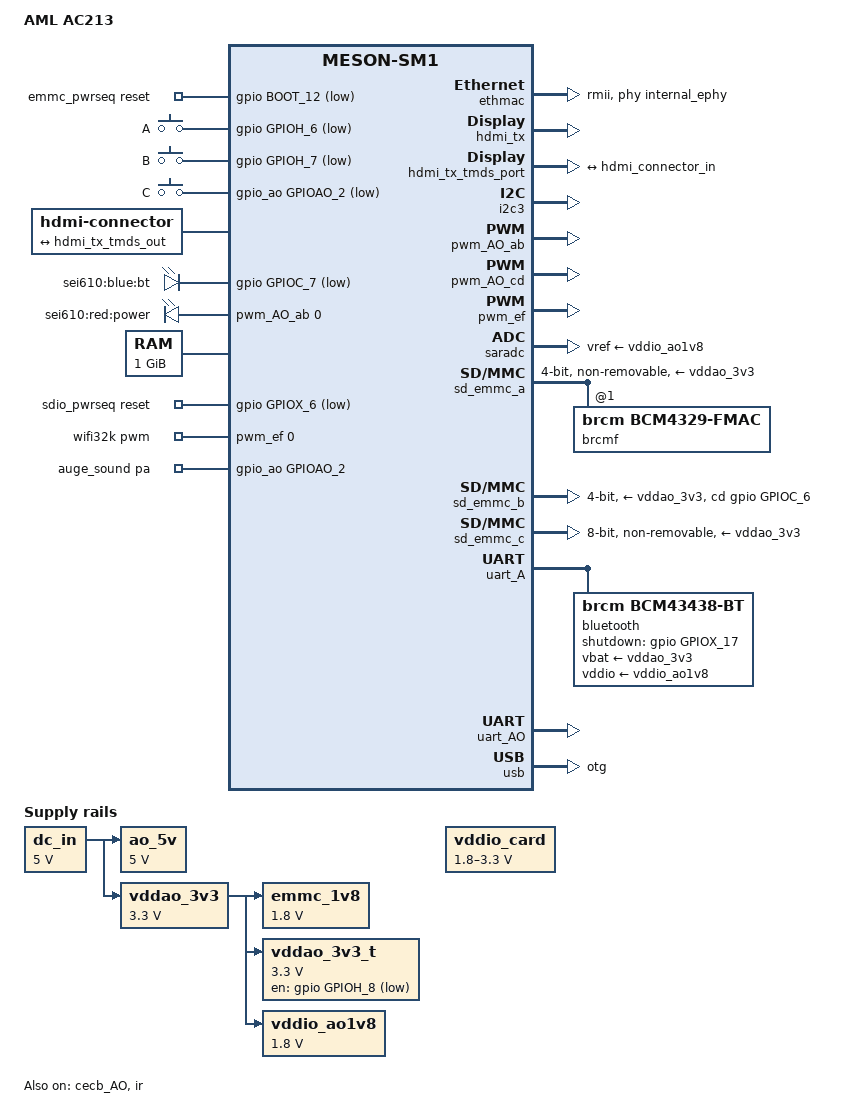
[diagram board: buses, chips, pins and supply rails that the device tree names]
// SPDX-License-Identifier: (GPL-2.0+ OR MIT)
/*
 * Copyright (c) 2019 BayLibre SAS. All rights reserved.
 */

/dts-v1/;

#include "meson-sm1.dtsi"
#include "partition_mbox_normal.dtsi"
#include <dt-bindings/gpio/gpio.h>
#include <dt-bindings/input/input.h>
#include <dt-bindings/gpio/meson-g12a-gpio.h>

/ {
	compatible = "amlogic,sm1";
	model = "AML AC213";

	aliases {
		serial0 = &uart_AO;
		ethernet0 = &ethmac;
	};

	chosen {
		stdout-path = "serial0:115200n8";
	};

	emmc_pwrseq: emmc-pwrseq {
		compatible = "mmc-pwrseq-emmc";
		reset-gpios = <&gpio BOOT_12 GPIO_ACTIVE_LOW>;
	};

	gpio-keys {
		compatible = "gpio-keys-polled";
		poll-interval = <100>;

		key1 {
			label = "A";
			linux,code = <BTN_0>;
			gpios = <&gpio GPIOH_6 GPIO_ACTIVE_LOW>;
		};

		key2 {
			label = "B";
			linux,code = <BTN_1>;
			gpios = <&gpio GPIOH_7 GPIO_ACTIVE_LOW>;
		};

		key3 {
			label = "C";
			linux,code = <BTN_2>;
			gpios = <&gpio_ao GPIOAO_2 GPIO_ACTIVE_LOW>;
		};
	};

	hdmi-connector {
		compatible = "hdmi-connector";
		type = "a";

		port {
			hdmi_connector_in: endpoint {
				remote-endpoint = <&hdmi_tx_tmds_out>;
			};
		};
	};

	leds {
		compatible = "gpio-leds";

		bluetooth {
			label = "sei610:blue:bt";
			gpios = <&gpio GPIOC_7 (GPIO_ACTIVE_LOW | GPIO_OPEN_DRAIN)>;
			default-state = "off";
		};
	};

	pwmleds {
		compatible = "pwm-leds";

		power {
			label = "sei610:red:power";
			pwms = <&pwm_AO_ab 0 30518 0>;
			max-brightness = <255>;
			linux,default-trigger = "default-on";
			active-low;
		};
	};

	memory@0 {
		device_type = "memory";
		reg = <0x0 0x0 0x0 0x40000000>;
	};

	ao_5v: regulator-ao_5v {
		compatible = "regulator-fixed";
		regulator-name = "AO_5V";
		regulator-min-microvolt = <5000000>;
		regulator-max-microvolt = <5000000>;
		vin-supply = <&dc_in>;
		regulator-always-on;
	};

	dc_in: regulator-dc_in {
		compatible = "regulator-fixed";
		regulator-name = "DC_IN";
		regulator-min-microvolt = <5000000>;
		regulator-max-microvolt = <5000000>;
		regulator-always-on;
	};

	emmc_1v8: regulator-emmc_1v8 {
		compatible = "regulator-fixed";
		regulator-name = "EMMC_1V8";
		regulator-min-microvolt = <1800000>;
		regulator-max-microvolt = <1800000>;
		vin-supply = <&vddao_3v3>;
		regulator-always-on;
	};

	vddao_3v3: regulator-vddao_3v3 {
		compatible = "regulator-fixed";
		regulator-name = "VDDAO_3V3";
		regulator-min-microvolt = <3300000>;
		regulator-max-microvolt = <3300000>;
		vin-supply = <&dc_in>;
		regulator-always-on;
	};

	/* Used by Tuner, RGB Led & IR Emitter LED array */
	vddao_3v3_t: regulator-vddao_3v3_t {
		compatible = "regulator-fixed";
		regulator-name = "VDDAO_3V3_T";
		regulator-min-microvolt = <3300000>;
		regulator-max-microvolt = <3300000>;
		vin-supply = <&vddao_3v3>;
		gpio = <&gpio GPIOH_8 GPIO_OPEN_DRAIN>;
		enable-active-low;
		regulator-always-on;
	};

	vddio_card: gpio-regulator {
		compatible = "regulator-gpio";

		regulator-name = "VDDIO_CARD";
		regulator-min-microvolt = <1800000>;
		regulator-max-microvolt = <3300000>;

		gpios = <&gpio GPIOAO_2 GPIO_ACTIVE_HIGH>;
		gpios-states = <1>;

		/* Based on P200 schematics, signal CARD_1.8V/3.3V_CTR */
		states = <1800000 1
			3300000 0>;
	};

	vddio_ao1v8: regulator-vddio_ao1v8 {
		compatible = "regulator-fixed";
		regulator-name = "VDDIO_AO1V8";
		regulator-min-microvolt = <1800000>;
		regulator-max-microvolt = <1800000>;
		vin-supply = <&vddao_3v3>;
		regulator-always-on;
	};

	reserved-memory {
		/* TEE Reserved Memory */
		bl32_reserved: bl32@5000000 {
			reg = <0x0 0x05300000 0x0 0x2000000>;
			no-map;
		};
		ion_cma_reserved:linux,ion-dev {
			compatible = "shared-dma-pool";
			reusable;
			size = <0x0 0x8000000>;
			alignment = <0x0 0x400000>;
		};
	};

	amlvecm {
		compatible = "amlogic, vecm";
		dev_name = "aml_vecm";
		status = "okay";
		gamma_en = <0>;/*1:enabel ;0:disable*/
		wb_en = <0>;/*1:enabel ;0:disable*/
		cm_en = <0>;/*1:enabel ;0:disable*/
	};

	amlvecm {
		compatible = "amlogic, vecm";
		dev_name = "aml_vecm";
		status = "okay";
		gamma_en = <0>;/*1:enabel ;0:disable*/
		wb_en = <0>;/*1:enabel ;0:disable*/
		cm_en = <0>;/*1:enabel ;0:disable*/
	};

	sdio_pwrseq: sdio-pwrseq {
		compatible = "mmc-pwrseq-simple";
		reset-gpios = <&gpio GPIOX_6 GPIO_ACTIVE_LOW>;
		clocks = <&wifi32k>;
		clock-names = "ext_clock";
	};

	wifi32k: wifi32k {
		compatible = "pwm-clock";
		#clock-cells = <0>;
		clock-frequency = <32768>;
		pwms = <&pwm_ef 0 30518 0>; /* PWM_E at 32.768KHz */
	};

	amdolby_vision {
		compatible = "amlogic, dolby_vision_sm1";
		dev_name = "aml_amdolby_vision_driver";
		status = "okay";
		tv_mode = <0>;/*1:enabel ;0:disable*/
	};

	auge_sound {
		compatible = "amlogic, sound-card";
		aml-audio-card,name = "AML-AUGESOUND";

		/* Power Amplifier Enable gpio */
		pa-gpios = <&gpio_ao GPIOAO_2 GPIO_ACTIVE_HIGH>;

		aml-audio-card,dai-link@0 {
			format = "dsp_a";
			mclk-fs = <512>;
			//continuous-clock;
			//bitclock-inversion;
			//frame-inversion;
			/* master mode */
			bitclock-master = <&tdma>;
			frame-master = <&tdma>;
			/* slave mode */
			/*
			 * bitclock-master = <&tdmacodec>;
			 * frame-master = <&tdmacodec>;
			 */
			suffix-name = "alsaPORT-pcm";
			tdmacpu: cpu {
				sound-dai = <&tdma>;
				dai-tdm-slot-tx-mask =
							<1 1 1 1 1 1 1 1>;
				dai-tdm-slot-rx-mask =
							<1 1 1 1 1 1 1 1>;
				dai-tdm-slot-num = <8>;
				dai-tdm-slot-width = <32>;
				system-clock-frequency = <24576000>;
			};
			tdmacodec: codec {
				sound-dai = <&dummy_codec &dummy_codec>;
			};
		};

		aml-audio-card,dai-link@1 {
			format = "i2s";// "dsp_a";
			mclk-fs = <256>;
			//continuous-clock;
			//bitclock-inversion;
			//frame-inversion;
			/* master mode */
			bitclock-master = <&tdmb>;
			frame-master = <&tdmb>;
			/* slave mode */
			//bitclock-master = <&tdmbcodec>;
			//frame-master = <&tdmbcodec>;
			/* suffix-name, sync with android audio hal
			 * what's the dai link used for
			 */
			suffix-name = "alsaPORT-i2s";
			cpu {
				sound-dai = <&tdmb>;
				dai-tdm-slot-tx-mask = <1 1>;
				dai-tdm-slot-rx-mask = <1 1>;
				dai-tdm-slot-num = <2>;
				/*
				 * dai-tdm-slot-tx-mask =
				 *	<1 1 1 1 1 1 1 1>;
				 * dai-tdm-slot-rx-mask =
				 *	<1 1 1 1 1 1 1 1>;
				 * dai-tdm-slot-num = <8>;
				 */
				dai-tdm-slot-width = <32>;
				system-clock-frequency = <12288000>;
			};
			tdmbcodec: codec {
				sound-dai = <&amlogic_codec>;
			};
		};

		aml-audio-card,dai-link@2 {
			format = "i2s";
			mclk-fs = <256>;
			//continuous-clock;
			//bitclock-inversion;
			//frame-inversion;
			/* master mode */
			bitclock-master = <&tdmc>;
			frame-master = <&tdmc>;
			/* slave mode */
			//bitclock-master = <&tdmccodec>;
			//frame-master = <&tdmccodec>;
			/* suffix-name, sync with android audio hal used for */
			//suffix-name = "alsaPORT-tdm";
			cpu {
				sound-dai = <&tdmc>;
				dai-tdm-slot-tx-mask = <1 1>;
				dai-tdm-slot-rx-mask = <1 1>;
				dai-tdm-slot-num = <2>;
				dai-tdm-slot-width = <32>;
				system-clock-frequency = <12288000>;
			};
			tdmccodec: codec {
				sound-dai = <&dummy_codec>;
			};
		};

		aml-audio-card,dai-link@3 {
			mclk-fs = <64>;
			/* suffix-name, sync with android audio hal
			 * what's the dai link used for
			 */
			suffix-name = "alsaPORT-pdm";
			cpu {
				sound-dai = <&apdm>;
			};
			codec {
				sound-dai = <&dummy_codec>;
			};
		};

		aml-audio-card,dai-link@4 {
			mclk-fs = <128>;
			/* suffix-name, sync with android audio hal used for */
			suffix-name = "alsaPORT-spdif";
			cpu {
				sound-dai = <&spdifa>;
				system-clock-frequency = <6144000>;
			};
			codec {
				sound-dai = <&dummy_codec>;
			};
		};
		/* spdif_b to hdmi, only playback */
		aml-audio-card,dai-link@5 {
			mclk-fs = <128>;
			continuous-clock;
			/* suffix-name, sync with android audio hal
			 * what's the dai link used for
			 */
			suffix-name = "alsaPORT-spdifb";
			cpu {
				sound-dai = <&spdifb>;
				system-clock-frequency = <6144000>;
			};
			codec {
				sound-dai = <&dummy_codec>;
			};
		};
		aml-audio-card,dai-link@6 {
			mclk-fs = <256>;
			continuous-clock;
			suffix-name = "alsaPORT-loopback";
			cpu {
				sound-dai = <&loopbacka>;
				system-clock-frequency = <12288000>;
			};
			codec {
				sound-dai = <&dummy_codec>;
			};
		};
	};

	picdec {
		compatible = "amlogic, picdec";
		status = "okay";
	};

	cvbsout {
		compatible = "amlogic, cvbsout-sm1";
		status = "okay";
		clocks = <&clkc CLKID_VCLK2_ENCI
			&clkc CLKID_VCLK2_VENCI0
			&clkc CLKID_VCLK2_VENCI1
			&clkc CLKID_DAC_CLK>;
		clock-names = "venci_top_gate",
			"venci_0_gate",
			"venci_1_gate",
			"vdac_clk_gate";
		/* clk path */
		/* 0:vid_pll vid2_clk */
		/* 1:gp0_pll vid2_clk */
		/* 2:vid_pll vid1_clk */
		/* 3:gp0_pll vid1_clk */
		clk_path = <0>;

		/* performance: reg_address, reg_value */
		/* tm2 */
		performance = <0x1bf0  0x9
			0x1b56  0x333
			0x1b12  0x8080
			0x1b05  0xfd
			0x1c59  0xf850
			0xffff  0x0>; /* ending flag */
		performance_sarft = <0x1bf0  0x9
			0x1b56  0x333
			0x1b12  0x0
			0x1b05  0x9
			0x1c59  0xfc48
			0xffff  0x0>; /* ending flag */
		performance_revB_telecom = <0x1bf0  0x9
			0x1b56  0x546
			0x1b12  0x8080
			0x1b05  0x9
			0x1c59  0xf850
			0xffff  0x0>; /* ending flag */
	};

	cpu_opp_table: opp-table {
		compatible = "operating-points-v2";
		opp-shared;

		opp-100000000 {
			opp-hz = /bits/ 64 <100000000>;
			opp-microvolt = <760000>;
		};

		opp-250000000 {
			opp-hz = /bits/ 64 <250000000>;
			opp-microvolt = <760000>;
		};

		opp-500000000 {
			opp-hz = /bits/ 64 <500000000>;
			opp-microvolt = <760000>;
		};

		opp-667000000 {
			opp-hz = /bits/ 64 <666666666>;
			opp-microvolt = <780000>;
		};

		opp-1000000000 {
			opp-hz = /bits/ 64 <1000000000>;
			opp-microvolt = <800000>;
		};

		opp-1200000000 {
			opp-hz = /bits/ 64 <1200000000>;
			opp-microvolt = <810000>;
		};

		opp-1404000000 {
			opp-hz = /bits/ 64 <1404000000>;
			opp-microvolt = <820000>;
		};

		opp-1512000000 {
			opp-hz = /bits/ 64 <1500000000>;
			opp-microvolt = <830000>;
		};

		opp-1608000000 {
			opp-hz = /bits/ 64 <1608000000>;
			opp-microvolt = <860000>;
		};

		opp-1704000000 {
			opp-hz = /bits/ 64 <1704000000>;
			opp-microvolt = <900000>;
		};

		opp-1800000000 {
			opp-hz = /bits/ 64 <1800000000>;
			opp-microvolt = <940000>;
		};

		opp-1908000000 {
			opp-hz = /bits/ 64 <1908000000>;
			opp-microvolt = <970000>;
		};
	};

	cpufreq-meson {
		compatible = "amlogic, cpufreq-meson";
		status = "okay";
	};
};

&cec_AO {
	pinctrl-0 = <&cec_ao_a_h_pins>;
	pinctrl-names = "default";
	status = "disabled";
	hdmi-phandle = <&hdmi_tx>;
};

&cecb_AO {
	pinctrl-0 = <&cec_ao_b_h_pins>;
	pinctrl-names = "default";
	status = "okay";
	hdmi-phandle = <&hdmi_tx>;
};

&cpu0 {
	cpu-supply = <&vddcpu>;
	operating-points-v2 = <&cpu_opp_table>;
	clocks = <&clkc CLKID_CPU_CLK>,
	       <&clkc CLKID_CPU_CLK_DYN>,
	       <&clkc CLKID_SYS_PLL>;
	clock-names = "core_clk",
		"low_freq_clk_parent",
		"high_freq_clk_parent";
	clock-latency = <50000>;
};

&cpu1 {
	cpu-supply = <&vddcpu>;
	operating-points-v2 = <&cpu_opp_table>;
	clocks = <&clkc CLKID_CPU_CLK>,
	       <&clkc CLKID_CPU_CLK_DYN>,
	       <&clkc CLKID_SYS_PLL>;
	clock-names = "core_clk",
		"low_freq_clk_parent",
		"high_freq_clk_parent";
	clock-latency = <50000>;
};

&cpu2 {
	cpu-supply = <&vddcpu>;
	operating-points-v2 = <&cpu_opp_table>;
	clocks = <&clkc CLKID_CPU_CLK>,
	       <&clkc CLKID_CPU_CLK_DYN>,
	       <&clkc CLKID_SYS_PLL>;
	clock-names = "core_clk",
		"low_freq_clk_parent",
		"high_freq_clk_parent";
	clock-latency = <50000>;
};

&cpu3 {
	cpu-supply = <&vddcpu>;
	operating-points-v2 = <&cpu_opp_table>;
	clocks = <&clkc CLKID_CPU_CLK>,
	       <&clkc CLKID_CPU_CLK_DYN>,
	       <&clkc CLKID_SYS_PLL>;
	clock-names = "core_clk",
		"low_freq_clk_parent",
		"high_freq_clk_parent";
	clock-latency = <50000>;
};

&ethmac {
	status = "okay";
	phy-handle = <&internal_ephy>;
	phy-mode = "rmii";
};

&hdmi_tx {
	status = "okay";
	pinctrl-0 = <&hdmitx_hpd_pins>, <&hdmitx_ddc_pins>;
	pinctrl-names = "default";
};

&hdmi_tx_tmds_port {
	hdmi_tx_tmds_out: endpoint {
		remote-endpoint = <&hdmi_connector_in>;
	};
};

&i2c3 {
	status = "okay";
	pinctrl-0 = <&i2c3_sda_a_pins>, <&i2c3_sck_a_pins>;
	pinctrl-names = "default";
};

&ir {
	status = "okay";
	pinctrl-0 = <&remote_input_ao_pins>;
	pinctrl-names = "default";
};

&pwm_AO_ab {
	status = "okay";
	pinctrl-0 = <&pwm_ao_a_pins>;
	pinctrl-names = "default";
	clocks = <&xtal>;
	clock-names = "clkin0";
};

&pwm_AO_cd {
	pinctrl-0 = <&pwm_ao_d_e_pins>;
	pinctrl-names = "default";
	clocks = <&xtal>;
	clock-names = "clkin1";
	status = "okay";
};

&pwm_ef {
	status = "okay";
	pinctrl-0 = <&pwm_e_pins>;
	pinctrl-names = "default";
	clocks = <&xtal>;
	clock-names = "clkin0";
};

&saradc {
	status = "okay";
	vref-supply = <&vddio_ao1v8>;
};

/* SDIO */
&sd_emmc_a {
	status = "okay";
	pinctrl-0 = <&sdio_pins>;
	pinctrl-1 = <&sdio_clk_gate_pins>;
	pinctrl-names = "default", "clk-gate";
	#address-cells = <1>;
	#size-cells = <0>;

	bus-width = <4>;
	cap-sd-highspeed;
	sd-uhs-sdr50;
	sd_uhs-sdr104;
	max-frequency = <200000000>;

	non-removable;
	disable-wp;

//	mmc-pwrseq = <&sdio_pwrseq>;

	vmmc-supply = <&vddao_3v3>;
	vqmmc-supply = <&vddio_ao1v8>;

	brcmf: wifi@1 {
		reg = <1>;
		compatible = "brcm,bcm4329-fmac";
	};
};

/* SD card */
&sd_emmc_b {
	status = "okay";
	pinctrl-0 = <&sdcard_c_pins>;
	pinctrl-1 = <&sdcard_clk_gate_c_pins>;
	pinctrl-2 = <&sd_1bit_pins>;
	pinctrl-3 = <&sd_to_ao_uart_clr_pins
		&sdcard_clk_gate_c_pins &ao_to_sd_uart_pins>;
	pinctrl-4 = <&sd_to_ao_uart_clr_pins
		&sd_1bit_pins &ao_to_sd_uart_pins>;
	pinctrl-5 = <&sdcard_c_pins &uart_ao_a_pins>;
	pinctrl-6 = <&sd_to_ao_uart_clr_pins
		&ao_to_sd_uart_pins>;
	pinctrl-7 = <&sdcard_c_pins &uart_ao_a_pins>;
	pinctrl-8 = <&sd_to_ao_uart_clr_pins
		&ao_to_sd_uart_pins>;
	pinctrl-names = "sd_default",
			"clk-gate",
			"sd_1bit_pins",
			"sd_clk_cmd_uart_pins",
			"sd_1bit_uart_pins",
			"sd_to_ao_uart_pins",
			"ao_to_sd_uart_pins",
			"sd_to_ao_jtag_pins",
			"ao_to_sd_jtag_pins";
	bus-width = <4>;
	cap-sd-highspeed;
//	sd-uhs-sdr12;
//	sd-uhs-sdr25;
//	sd-uhs-sdr50;
//	sd_uhs-sdr104;
	max-frequency = <200000000>;
	disable-wp;

	cd-gpios = <&gpio GPIOC_6 GPIO_ACTIVE_HIGH>;
	dat1-gpios = <&gpio GPIOC_1 GPIO_ACTIVE_HIGH>;
	vmmc-supply = <&vddao_3v3>;
	vqmmc-supply = <&emmc_1v8>;
	//vqmmc-supply = <&vddio_card>;
};

/* eMMC */
&sd_emmc_c {
	status = "okay";
	pinctrl-0 = <&emmc_pins>, <&emmc_ds_pins>;
	pinctrl-1 = <&emmc_clk_gate_pins>;
	pinctrl-names = "default", "clk-gate";

	bus-width = <8>;
	cap-mmc-highspeed;
	//mmc-ddr-1_8v;
	mmc-hs200-1_8v;
	mmc-hs400-1_8v;
	max-frequency = <200000000>;
	non-removable;
	disable-wp;

	mmc-pwrseq = <&emmc_pwrseq>;
	vmmc-supply = <&vddao_3v3>;
	vqmmc-supply = <&emmc_1v8>;
};

&uart_A {
	status = "okay";
	pinctrl-0 = <&uart_a_pins>, <&uart_a_cts_rts_pins>;
	pinctrl-names = "default";
	uart-has-rtscts;

	bluetooth {
		compatible = "brcm,bcm43438-bt";
		shutdown-gpios = <&gpio GPIOX_17 GPIO_ACTIVE_HIGH>;
		max-speed = <2000000>;
		clocks = <&wifi32k>;
		clock-names = "lpo";
		vbat-supply = <&vddao_3v3>;
		vddio-supply = <&vddio_ao1v8>;
	};
};

/* Exposed via the on-board USB to Serial FT232RL IC */
&uart_AO {
	status = "okay";
//	pinctrl-0 = <&uart_ao_a_pins>;
//	pinctrl-names = "default";
};

&usb {
	status = "okay";
	dr_mode = "otg";
};

&pcie {
	status = "disable";
	reset-gpio = <&gpio GPIOX_7 GPIO_ACTIVE_HIGH>;
};
